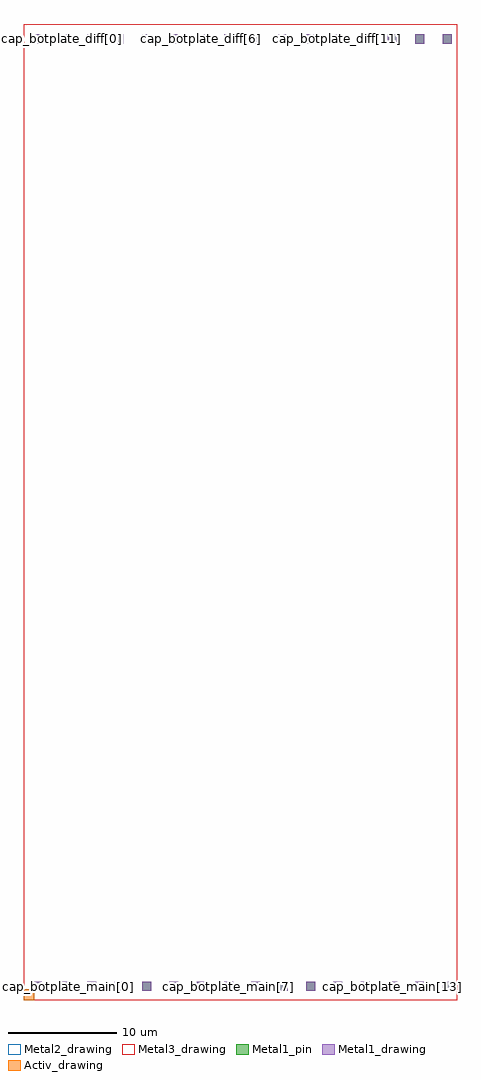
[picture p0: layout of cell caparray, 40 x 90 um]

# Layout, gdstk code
import gdstk
lib = gdstk.Library(unit=1e-6, precision=1e-09)
def R(c, l, rs):  # rectangles x0, y0, x1, y1
    for r in rs: c.add(gdstk.rectangle(r[:2], r[2:], *l))
def A(c, l, x, y, w, h, nx, ny, dx, dy):  # array of equal rectangles
    R(c, l, [(x+i*dx, y+j*dy, x+i*dx+w, y+j*dy+h) for i in range(nx) for j in range(ny)])
Activ_drawing = (1, 0)
Metal1_drawing = (8, 0)
Metal1_pin = (8, 2)
Metal2_drawing = (10, 0)
Metal3_drawing = (30, 0)

caparray = lib.new_cell('caparray')
R(caparray, Activ_drawing, [(0,0,1,1)])
A(caparray, Metal1_drawing, 0.84, 0.84, 0.84, 0.84, 16, 2, 2.52, 87.36)
A(caparray, Metal1_pin, 0.84, 0.84, 0.84, 0.84, 16, 2, 2.52, 87.36)
R(caparray, Metal2_drawing, [(0,0,40,90)])
R(caparray, Metal3_drawing, [(0,0,40,90)])
caparray.add(gdstk.Label('cap_botplate_main[0]', (1.26,1.26), layer=8, texttype=1))
caparray.add(gdstk.Label('cap_botplate_main[1]', (3.78,1.26), layer=8, texttype=1))
caparray.add(gdstk.Label('cap_botplate_main[2]', (6.3,1.26), layer=8, texttype=1))
caparray.add(gdstk.Label('cap_botplate_main[3]', (8.82,1.26), layer=8, texttype=1))
caparray.add(gdstk.Label('cap_botplate_main[4]', (11.34,1.26), layer=8, texttype=1))
caparray.add(gdstk.Label('cap_botplate_main[5]', (13.86,1.26), layer=8, texttype=1))
caparray.add(gdstk.Label('cap_botplate_main[6]', (16.38,1.26), layer=8, texttype=1))
caparray.add(gdstk.Label('cap_botplate_main[7]', (18.9,1.26), layer=8, texttype=1))
caparray.add(gdstk.Label('cap_botplate_main[8]', (21.42,1.26), layer=8, texttype=1))
caparray.add(gdstk.Label('cap_botplate_main[9]', (23.94,1.26), layer=8, texttype=1))
caparray.add(gdstk.Label('cap_botplate_main[10]', (26.46,1.26), layer=8, texttype=1))
caparray.add(gdstk.Label('cap_botplate_main[11]', (28.98,1.26), layer=8, texttype=1))
caparray.add(gdstk.Label('cap_botplate_main[12]', (31.5,1.26), layer=8, texttype=1))
caparray.add(gdstk.Label('cap_botplate_main[13]', (34.02,1.26), layer=8, texttype=1))
caparray.add(gdstk.Label('cap_botplate_main[14]', (36.54,1.26), layer=8, texttype=1))
caparray.add(gdstk.Label('cap_botplate_main[15]', (39.06,1.26), layer=8, texttype=1))
caparray.add(gdstk.Label('cap_botplate_diff[0]', (1.26,88.62), layer=8, texttype=1))
caparray.add(gdstk.Label('cap_botplate_diff[1]', (3.78,88.62), layer=8, texttype=1))
caparray.add(gdstk.Label('cap_botplate_diff[2]', (6.3,88.62), layer=8, texttype=1))
caparray.add(gdstk.Label('cap_botplate_diff[3]', (8.82,88.62), layer=8, texttype=1))
caparray.add(gdstk.Label('cap_botplate_diff[4]', (11.34,88.62), layer=8, texttype=1))
caparray.add(gdstk.Label('cap_botplate_diff[5]', (13.86,88.62), layer=8, texttype=1))
caparray.add(gdstk.Label('cap_botplate_diff[6]', (16.38,88.62), layer=8, texttype=1))
caparray.add(gdstk.Label('cap_botplate_diff[7]', (18.9,88.62), layer=8, texttype=1))
caparray.add(gdstk.Label('cap_botplate_diff[8]', (21.42,88.62), layer=8, texttype=1))
caparray.add(gdstk.Label('cap_botplate_diff[9]', (23.94,88.62), layer=8, texttype=1))
caparray.add(gdstk.Label('cap_botplate_diff[10]', (26.46,88.62), layer=8, texttype=1))
caparray.add(gdstk.Label('cap_botplate_diff[11]', (28.98,88.62), layer=8, texttype=1))
caparray.add(gdstk.Label('cap_botplate_diff[12]', (31.5,88.62), layer=8, texttype=1))
caparray.add(gdstk.Label('cap_botplate_diff[13]', (34.02,88.62), layer=8, texttype=1))
caparray.add(gdstk.Label('cap_botplate_diff[14]', (36.54,88.62), layer=8, texttype=1))
caparray.add(gdstk.Label('cap_botplate_diff[15]', (39.06,88.62), layer=8, texttype=1))

lib.write_gds('caparray.gds')
